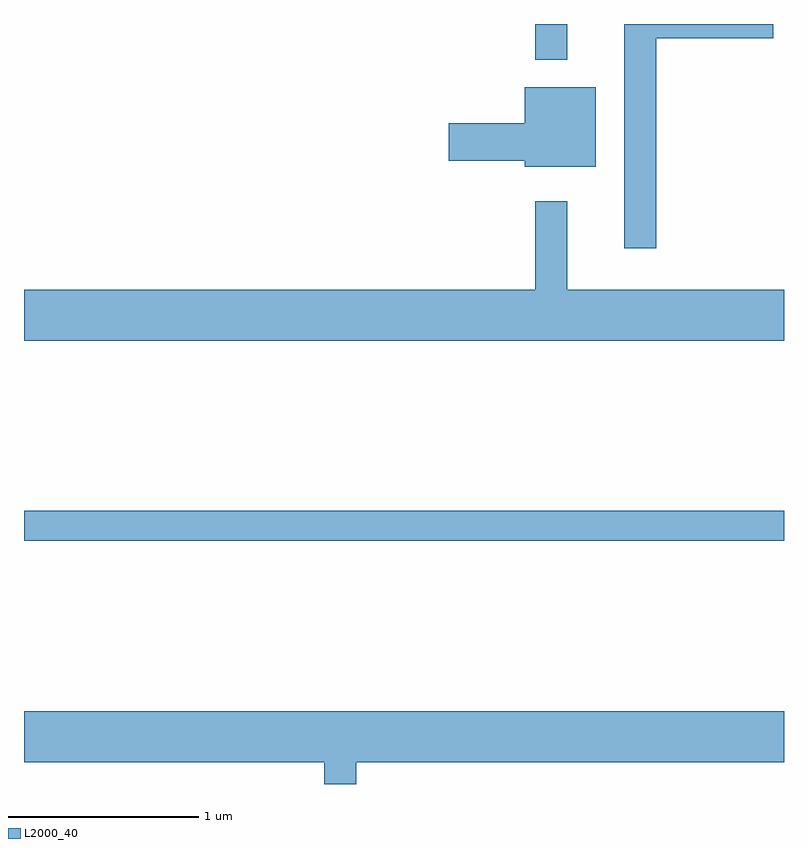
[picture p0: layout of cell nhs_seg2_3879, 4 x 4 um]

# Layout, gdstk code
import gdstk
lib = gdstk.Library(unit=1e-6, precision=1e-09)
def R(c, l, rs):  # rectangles x0, y0, x1, y1
    for r in rs: c.add(gdstk.rectangle(r[:2], r[2:], *l))
def P(c, l, *ps):  # polygons
    for p in ps: c.add(gdstk.Polygon(p, *l))
L2000_40 = (2000, 40)

nhs_seg2_3879 = lib.new_cell('nhs_seg2_3879')
R(nhs_seg2_3879, L2000_40, [(299.611,1005.081,303.611,1005.239), (302.301,1007.613,302.469,1007.802)])
P(nhs_seg2_3879, L2000_40, [(302.939,1007.726),(303.554,1007.726),(303.554,1007.802),(302.771,1007.802),(302.771,1006.623),(302.939,1006.623)],
  [(302.619,1007.469),(302.246,1007.469),(302.246,1007.279),(301.846,1007.279),(301.846,1007.081),(302.246,1007.081),(302.246,1007.051),(302.619,1007.051)],
  [(303.611,1006.404),(302.469,1006.404),(302.469,1006.868),(302.301,1006.868),(302.301,1006.404),(299.611,1006.404),(299.611,1006.136),(303.611,1006.136)],
  [(301.359,1003.916),(303.611,1003.916),(303.611,1004.184),(299.611,1004.184),(299.611,1003.916),(301.191,1003.916),(301.191,1003.802),(301.359,1003.802)])

lib.write_gds('nhs_seg2_3879.gds')
